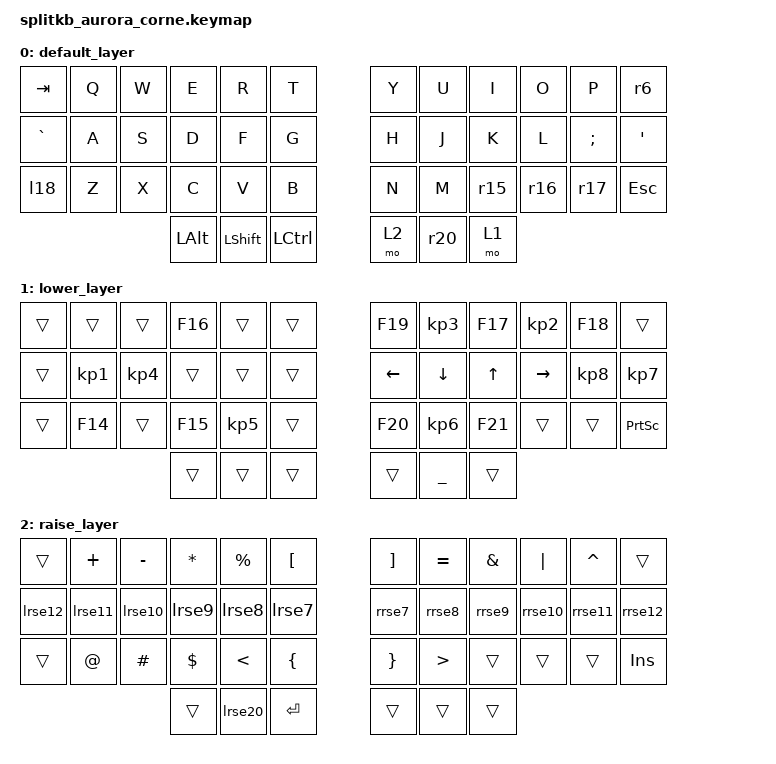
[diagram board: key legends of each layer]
/*
 * Copyright (c) 2020 The ZMK Contributors
 *
 * SPDX-License-Identifier: MIT
 */

#include <behaviors.dtsi>
#include <dt-bindings/zmk/keys.h>
#include <dt-bindings/zmk/bt.h>

/* * * * *
On Extended Character Input
The Corne is missing the multitude of buttons found on a traditional US
keyboard, therefore a great deal of hid keycodes go unused. A set of unused
keycodes are repurposed for my desired character set.
* * * * */

// German Characters
#define AE KP_N1 // äÄ
#define OE KP_N2 // öÖ
#define UE KP_N3 // üÜ
#define EZ KP_N4 // ßẞ
#define LG KP_N5 // «
#define RG KP_N6 // »
#define AZ KP_N7 // „“

// Spanish Chararacters
#define AA F14 // áÁ
#define CC F15 // çÇ
#define EA F16 // éÉ
#define IA F17 // íÍ
#define OA F18 // óÓ
#define UA F19 // úÚ
#define NT F20 // ñÑ
#define RP F21 // ¡¿

// Other
#define SM KP_N8 // Smileys

/ {
  behaviors {
    l18: l18 {
      compatible = "zmk,behavior-mod-morph";
      #binding-cells = <0>;
      bindings = <&kp LGUI>, <&kp CAPS>;
      mods = <(MOD_LSFT)>;
    };

    lrse7: lrse7 {
      compatible = "zmk,behavior-mod-morph";
      #binding-cells = <0>;
      bindings = <&kp LPAR>, <&kp F11>;
      mods = <(MOD_LSFT)>;
    };
    lrse8: lrse8 {
      compatible = "zmk,behavior-mod-morph";
      #binding-cells = <0>;
      bindings = <&kp N4>, <&kp F4>;
      mods = <(MOD_LSFT)>;
    };
    lrse9: lrse9 {
      compatible = "zmk,behavior-mod-morph";
      #binding-cells = <0>;
      bindings = <&kp N3>, <&kp F3>;
      mods = <(MOD_LSFT)>;
    };
    lrse10: lrse10 {
      compatible = "zmk,behavior-mod-morph";
      #binding-cells = <0>;
      bindings = <&kp N2>, <&kp F2>;
      mods = <(MOD_LSFT)>;
    };
    lrse11: lrse11 {
      compatible = "zmk,behavior-mod-morph";
      #binding-cells = <0>;
      bindings = <&kp N1>, <&kp F1>;
      mods = <(MOD_LSFT)>;
    };
    lrse12: lrse12 {
      compatible = "zmk,behavior-mod-morph";
      #binding-cells = <0>;
      bindings = <&kp N0>, <&kp F10>;
      mods = <(MOD_LSFT)>;
    };

    r6: r6 {
      compatible = "zmk,behavior-mod-morph";
      #binding-cells = <0>;
      bindings = <&kp BSPC>, <&kp DEL>;
      mods = <(MOD_LSFT)>;
    };
    r15: r15 {
      compatible = "zmk,behavior-mod-morph";
      #binding-cells = <0>;
      bindings = <&kp EXCL>, <&kp QMARK>;
      mods = <(MOD_LSFT)>;
    };
    r16: r16 {
      compatible = "zmk,behavior-mod-morph";
      #binding-cells = <0>;
      bindings = <&kp DOT>, <&kp COMMA>;
      mods = <(MOD_LSFT)>;
    };
    r17: r17 {
      compatible = "zmk,behavior-mod-morph";
      #binding-cells = <0>;
      bindings = <&kp FSLH>, <&kp BSLH>;
      mods = <(MOD_LSFT)>;
    };
    r20: r20 {
      compatible = "zmk,behavior-mod-morph";
      #binding-cells = <0>;
      bindings = <&kp SPACE>, <&kp UNDER>;
      mods = <(MOD_LSFT)>;
    };

    rrse7: rrse7 {
      compatible = "zmk,behavior-mod-morph";
      #binding-cells = <0>;
      bindings = <&kp RPAR>, <&kp F12>;
      mods = <(MOD_LSFT)>;
    };
    rrse8: rrse8 {
      compatible = "zmk,behavior-mod-morph";
      #binding-cells = <0>;
      bindings = <&kp N5>, <&kp F5>;
      mods = <(MOD_LSFT)>;
    };
    rrse9: rrse9 {
      compatible = "zmk,behavior-mod-morph";
      #binding-cells = <0>;
      bindings = <&kp N6>, <&kp F6>;
      mods = <(MOD_LSFT)>;
    };
    rrse10: rrse10 {
      compatible = "zmk,behavior-mod-morph";
      #binding-cells = <0>;
      bindings = <&kp N7>, <&kp F7>;
      mods = <(MOD_LSFT)>;
    };
    rrse11: rrse11 {
      compatible = "zmk,behavior-mod-morph";
      #binding-cells = <0>;
      bindings = <&kp N8>, <&kp F8>;
      mods = <(MOD_LSFT)>;
    };
    rrse12: rrse12 {
      compatible = "zmk,behavior-mod-morph";
      #binding-cells = <0>;
      bindings = <&kp N9>, <&kp F9>;
      mods = <(MOD_LSFT)>;
    };
  };

  macros {
    lrse20: lrse20 {
      compatible = "zmk,behavior-macro";
      #binding-cells = <0>;
      bindings =
        <&macro_press &kp LSHFT>,
        <&macro_tap &kp RET>,
        <&macro_release &kp LSHFT>;
    };
  };

  keymap {
    compatible = "zmk,keymap";
    default_layer {
      bindings = <
        &kp TAB   &kp Q &kp W &kp E    &kp R     &kp T      &kp Y &kp U &kp I     &kp O &kp P    &r6
        &kp GRAVE &kp A &kp S &kp D    &kp F     &kp G      &kp H &kp J &kp K     &kp L &kp SEMI &kp SQT
        &l18      &kp Z &kp X &kp C    &kp V     &kp B      &kp N &kp M &r15      &r16  &r17     &kp ESC
                              &kp LALT &kp LSHFT &kp LCTRL  &mo 2 &r20  &mo 1
      >;
    };
    lower_layer {
      bindings = <
        &trans &trans &trans &kp EA &trans &trans  &kp UA   &kp UE    &kp IA &kp OE    &kp OA &trans
        &trans &kp AE &kp EZ &trans &trans &trans  &kp LEFT &kp DOWN  &kp UP &kp RIGHT &kp SM &kp AZ
        &trans &kp AA &trans &kp CC &kp LG &trans  &kp NT   &kp RG    &kp RP &trans    &trans &kp PSCRN
                             &trans &trans &trans  &trans   &kp UNDER &trans
      >;
    };
    raise_layer {
      bindings = <
        &trans  &kp PLUS &kp MINUS &kp STAR &kp PRCNT &kp LBKT  &kp RBKT &kp EQUAL &kp AMPS &kp PIPE &kp CARET &trans
        &lrse12 &lrse11  &lrse10   &lrse9   &lrse8    &lrse7    &rrse7   &rrse8    &rrse9   &rrse10  &rrse11   &rrse12
        &trans  &kp AT   &kp HASH  &kp DLLR &kp LT    &kp LBRC  &kp RBRC &kp GT    &trans   &trans   &trans    &kp INS
                                   &trans   &lrse20   &kp RET   &trans   &trans    &trans
      >;
    };
  };
};
